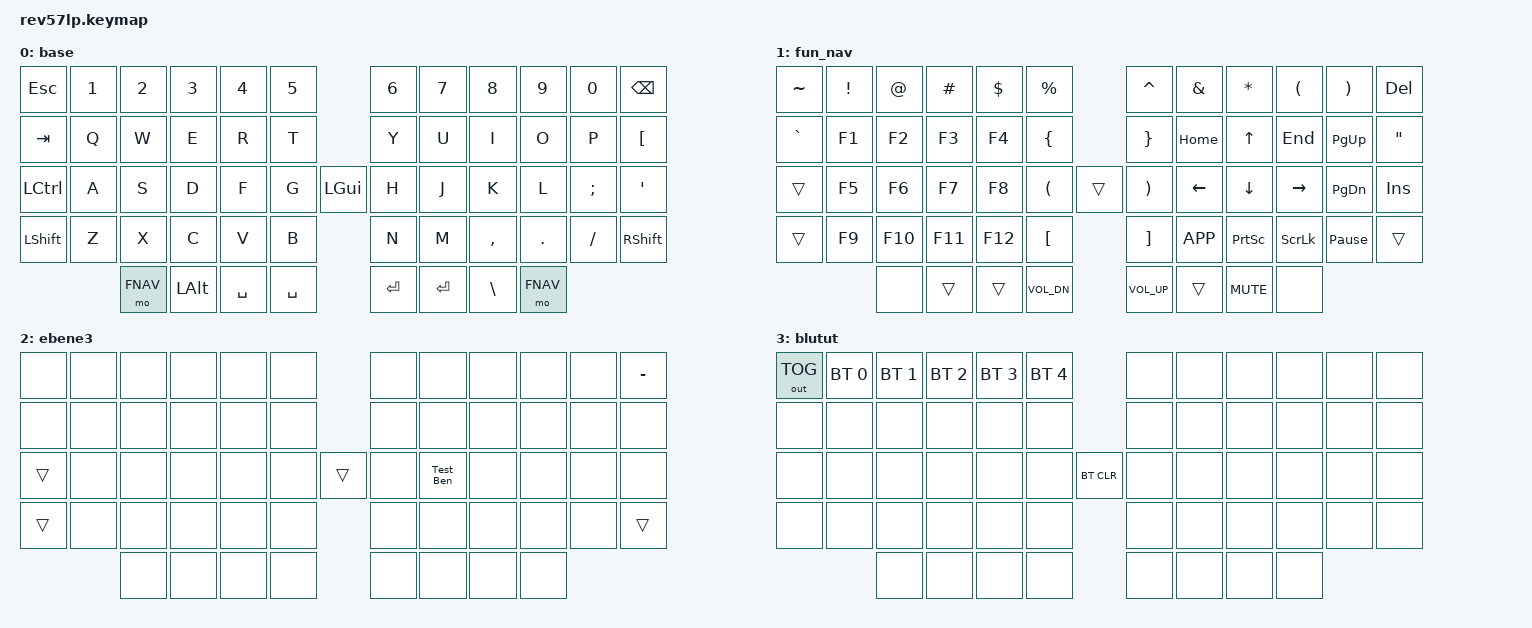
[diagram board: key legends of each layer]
/*
 * Copyright (c) 2022 The ZMK Contributors
 *
 * SPDX-License-Identifier: MIT
 */

#include <behaviors.dtsi>
#include <dt-bindings/zmk/bt.h>
#include <dt-bindings/zmk/keys.h>
#include <dt-bindings/zmk/outputs.h>

#define BASE    0
#define FNAV    1
#define BT      2

/ {
    combos {
        compatible = "zmk,combos";

        combo_BOOT {
            timeout-ms = <50>;
            key-positions = <4 5 6 7>;
            bindings = <&bootloader>;
        };

        combo_BT {
            timeout-ms = <50>;
            key-positions = <49 56>;
            bindings = <&mo 3>;
        };

        combo_UNLOCK {
            timeout-ms = <50>;
            key-positions = <52 53>;
            bindings = <&studio_unlock>;
        };

        Ebene3 {
            timeout-ms = <50>;
            key-positions = <49 50>;
            bindings = <&mo 2>;
        };
    };

    macros {
        Test_Ben: Test_Ben {
            compatible = "zmk,behavior-macro";
            #binding-cells = <0>;
            bindings = <&none &kp B &kp E &kp N &kp N &kp RA(L) &kp M &kp A &kp I &kp L &kp B &kp O &kp X &kp DOT &kp O &kp R &kp G>;
            label = "TEST_BEN";
        };
    };

    keymap {
        compatible = "zmk,keymap";

        base {
            bindings = <
&kp ESC     &kp N1  &kp N2    &kp N3    &kp N4     &kp N5               &kp N6   &kp N7   &kp N8     &kp N9    &kp N0     &kp BSPC
&kp TAB     &kp Q   &kp W     &kp E     &kp R      &kp T                &kp Y    &kp U    &kp I      &kp O     &kp P      &kp LBKT
&kp LCTRL   &kp A   &kp S     &kp D     &kp F      &kp G      &kp LGUI  &kp H    &kp J    &kp K      &kp L     &kp SEMI   &kp SQT
&kp LSHIFT  &kp Z   &kp X     &kp C     &kp V      &kp B                &kp N    &kp M    &kp COMMA  &kp DOT   &kp SLASH  &kp RSHIFT
                    &mo FNAV  &kp LALT  &kp SPACE  &kp SPACE            &kp RET  &kp RET  &kp BSLH   &mo FNAV
            >;
        };

        fun_nav {
            bindings = <
&kp TILDE  &kp EXCL  &kp AT   &kp HASH  &kp DLLR  &kp PRCNT             &kp CARET     &kp AMPS   &kp ASTRK   &kp LPAR   &kp RPAR         &kp DEL
&kp GRAVE  &kp F1    &kp F2   &kp F3    &kp F4    &kp LBRC              &kp RBRC      &kp HOME   &kp UP      &kp END    &kp PG_UP        &kp DQT
&trans     &kp F5    &kp F6   &kp F7    &kp F8    &kp LPAR      &trans  &kp RPAR      &kp LEFT   &kp DOWN    &kp RIGHT  &kp PG_DN        &kp INS
&trans     &kp F9    &kp F10  &kp F11   &kp F12   &kp LBKT              &kp RBKT      &kp K_APP  &kp PSCRN   &kp SLCK   &kp PAUSE_BREAK  &trans
                     &none    &trans    &trans    &kp C_VOL_DN          &kp C_VOL_UP  &trans     &kp C_MUTE  &none
            >;
        };

        ebene3 {
            bindings = <
&none   &none  &none  &none  &none  &none          &none  &none      &none  &none  &none  &kp MINUS
&none   &none  &none  &none  &none  &none          &none  &none      &none  &none  &none  &none
&trans  &none  &none  &none  &none  &none  &trans  &none  &Test_Ben  &none  &none  &none  &none
&trans  &none  &none  &none  &none  &none          &none  &none      &none  &none  &none  &trans
               &none  &none  &none  &none          &none  &none      &none  &none
            >;
        };

        blutut {
            bindings = <
&out OUT_TOG  &bt BT_SEL 0  &bt BT_SEL 1  &bt BT_SEL 2  &bt BT_SEL 3  &bt BT_SEL 4              &none  &none  &none  &none  &none  &none
&none         &none         &none         &none         &none         &none                     &none  &none  &none  &none  &none  &none
&none         &none         &none         &none         &none         &none         &bt BT_CLR  &none  &none  &none  &none  &none  &none
&none         &none         &none         &none         &none         &none                     &none  &none  &none  &none  &none  &none
                            &none         &none         &none         &none                     &none  &none  &none  &none
            >;
        };

        extra2 { status = "reserved"; };

        extra3 { status = "reserved"; };
    };
};
